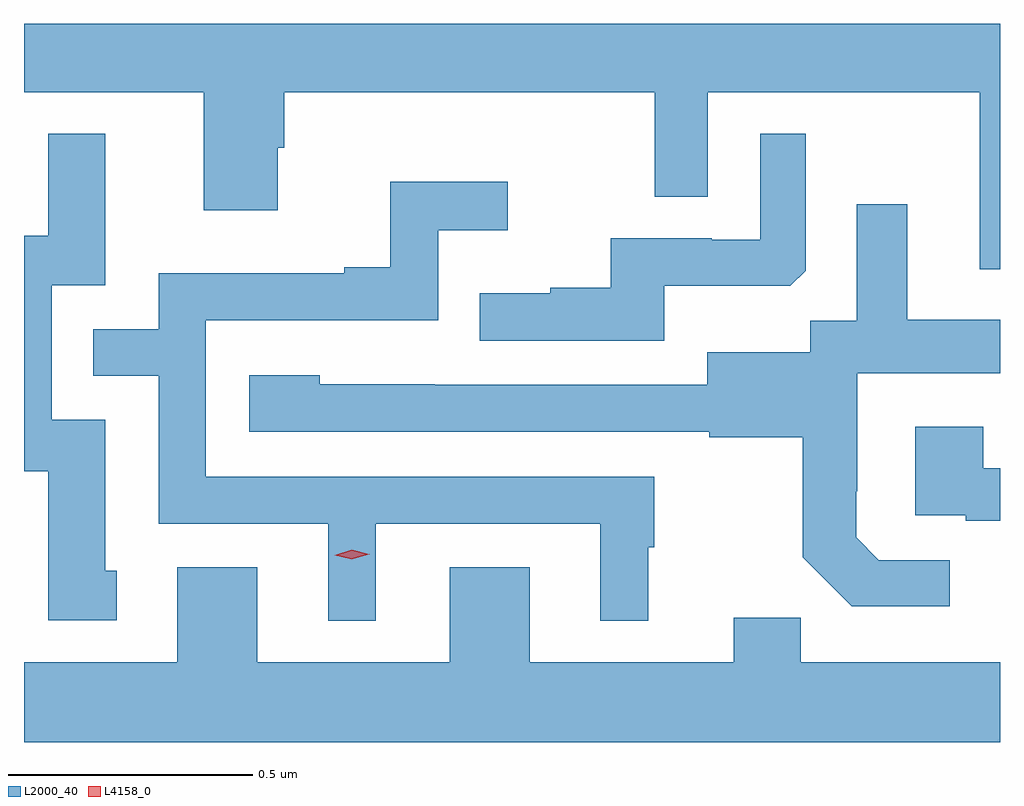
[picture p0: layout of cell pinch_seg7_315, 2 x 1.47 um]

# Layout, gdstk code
import gdstk
lib = gdstk.Library(unit=1e-6, precision=1e-09)
def P(c, l, *ps):  # polygons
    for p in ps: c.add(gdstk.Polygon(p, *l))
L2000_40 = (2000, 40)
L4158_0 = (4158, 0)

pinch_seg7_315 = lib.new_cell('pinch_seg7_315')
P(pinch_seg7_315, L2000_40, [(511.367,1054.037),(509.367,1054.037),(509.367,1053.896),(509.735,1053.896),(509.735,1053.654),(509.887,1053.654),(509.887,1053.783),(509.9,1053.783),(509.9,1053.896),(510.66,1053.896),(510.66,1053.682),(510.768,1053.682),(510.768,1053.896),(511.325,1053.896),(511.325,1053.534),(511.367,1053.534)],
  [(509.557,1052.916),(509.533,1052.916),(509.533,1053.225),(509.424,1053.225),(509.424,1053.501),(509.533,1053.501),(509.533,1053.811),(509.417,1053.811),(509.417,1053.602),(509.367,1053.602),(509.367,1053.12),(509.417,1053.12),(509.417,1052.814),(509.557,1052.814)],
  [(510.679,1053.5),(510.937,1053.5),(510.969,1053.531),(510.969,1053.811),(510.876,1053.811),(510.876,1053.594),(510.776,1053.594),(510.776,1053.597),(510.569,1053.597),(510.569,1053.496),(510.445,1053.496),(510.445,1053.484),(510.301,1053.484),(510.301,1053.387),(510.679,1053.387)],
  [(510.088,1053.012),(510.548,1053.012),(510.548,1052.813),(510.646,1052.813),(510.646,1052.964),(510.658,1052.964),(510.658,1053.108),(509.739,1053.108),(509.739,1053.429),(510.216,1053.429),(510.216,1053.614),(510.358,1053.614),(510.358,1053.713),(510.118,1053.713),(510.118,1053.538),(510.023,1053.538),(510.023,1053.525),(509.643,1053.525),(509.643,1053.411),(509.509,1053.411),(509.509,1053.315),(509.643,1053.315),(509.643,1053.012),(509.99,1053.012),(509.99,1052.813),(510.088,1052.813)],
  [(511.264,1052.937),(511.119,1052.937),(511.072,1052.984),(511.072,1053.079),(511.074,1053.079),(511.074,1053.32),(511.367,1053.32),(511.367,1053.43),(511.177,1053.43),(511.177,1053.667),(511.073,1053.667),(511.073,1053.428),(510.978,1053.428),(510.978,1053.364),(510.767,1053.364),(510.767,1053.297),(510.209,1053.297),(510.209,1053.298),(509.973,1053.298),(509.973,1053.316),(509.829,1053.316),(509.829,1053.201),(510.771,1053.201),(510.771,1053.189),(510.963,1053.189),(510.963,1052.943),(511.063,1052.843),(511.264,1052.843)],
  [(511.367,1053.126),(511.333,1053.126),(511.333,1053.211),(511.193,1053.211),(511.193,1053.03),(511.297,1053.03),(511.297,1053.018),(511.367,1053.018)],
  [(511.367,1052.728),(510.959,1052.728),(510.959,1052.819),(510.821,1052.819),(510.821,1052.728),(510.403,1052.728),(510.403,1052.923),(510.239,1052.923),(510.239,1052.728),(509.845,1052.728),(509.845,1052.923),(509.681,1052.923),(509.681,1052.728),(509.367,1052.728),(509.367,1052.564),(511.367,1052.564)])
P(pinch_seg7_315, L4158_0, [(510.039,1052.939),(510.004,1052.948),(510.003,1052.948),(510.004,1052.948),(510.039,1052.959),(510.074,1052.95),(510.075,1052.95),(510.074,1052.95)])

lib.write_gds('pinch_seg7_315.gds')
